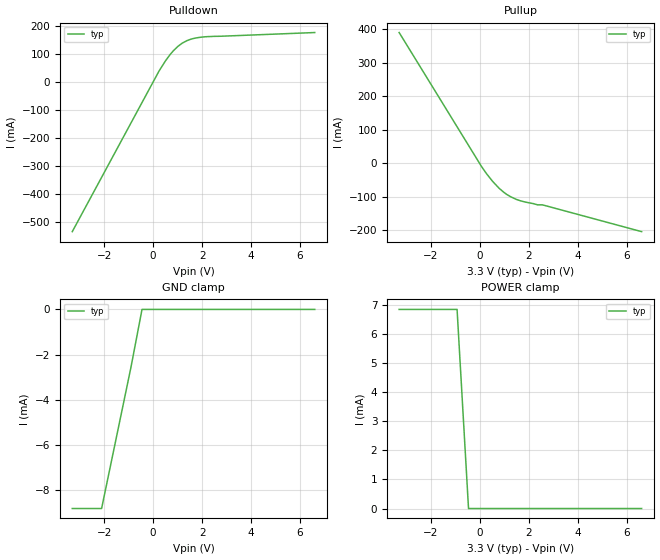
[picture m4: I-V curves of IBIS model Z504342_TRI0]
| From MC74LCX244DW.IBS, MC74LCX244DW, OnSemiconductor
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| (C) COPYRIGHT 1993-2000
| MENTOR GRAPHICS CORPORATION
| ICX STANDARD LIBRARY, ICX PROJECT MODELING,
| ICX CUSTOM MODELING, ICX VENDOR MODEL
| ALL RIGHTS RESERVED.
| THE FOLLOWING ARE TRADEMARKS OR SERVICE MARKS OF
| MENTOR GRAPHICS CORPORATION:ICX (R), ICX STANDARD
| LIBRARY(R), ICX PROJECT MODELING(R), ICX CUSTOM
| MODELING(R), qualityIBIS(TM), MODELVIEWER(TM),
| AND MODELEDITOR(TM)
| ALL COPIES OF SOFTWARE, INCLUDING BUT NOT LIMITED TO
| ANY MODIFICATIONS, ENHANCEMENTS OR DERIVATIVE WORKS,
| MUST CONTAIN ALL MENTOR GRAPHICS CORPORATION'S
| NOTICES AND LEGENDS, INCLUDING THOSE EMBEDDED IN
| SOFTWARE AND THOSE AFFIXED TO SOFTWARE MEDIUM
| AND CONTAINER, AS RECEIVED FROM MENTOR GRAPHICS
| CORPORATION.
| Model Application Version 1.89 2/18/99.
[Model] Z504342_TRI0
Model_type 3-state
Vref=0.000V
Rref=500.0ohms
Cref=50.00pF
Vmeas=1.500V
C_comp 8.000pF NA NA
| variable typ   min   max
[Voltage Range] 3.300V NA NA
[POWER Clamp Reference] 3.300V NA NA
[Pullup Reference] 3.300V NA NA
[Pulldown Reference] 0.000V NA NA
[GND Clamp Reference] 0.000V NA NA
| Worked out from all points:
|   slope of the pulldown table from 0 to 0.495 V, typ, clamps not added: 6.67 ohm
|   slope of the pullup table from 0 to 0.495 V, typ, clamps not added: 9.91 ohm
[GND Clamp]
-3.3V     -8.823mA   NA         NA
-2.103V   -8.823mA   NA         NA
-905.2mV  -2.57mA    NA         NA
-452.6mV  0A         NA         NA
6.6V      0A         NA         NA
[Pulldown]
-3.3V     -535.6mA   NA         NA
244.5mV   38.57mA    NA         NA
683.6mV   95.95mA    NA         NA
1.007V    125.9mA    NA         NA
1.386V    147mA      NA         NA
1.717V    155.9mA    NA         NA
2.071V    160.2mA    NA         NA
6.6V      175.8mA    NA         NA
[Pullup]
-3.3V     390.3mA    NA         NA
68mV      -10.67mA   NA         NA
517mV     -54.57mA   NA         NA
980mV     -87.54mA   NA         NA
1.249V    -100.3mA   NA         NA
1.635V    -112.1mA   NA         NA
2.351V    -124.6mA   NA         NA
2.559V    -124.8mA   NA         NA
6.6V      -204.7mA   NA         NA
[POWER Clamp]
-3.3V     6.857mA    NA         NA
-935mV    6.857mA    NA         NA
-467.5mV  0A         NA         NA
6.6V      0A         NA         NA
[Ramp]
| variable typ min max
dV/dt_r 1.956/446.5p NA NA
dV/dt_f 1.956/1.187n NA NA
R_load = 500.0Ohms
